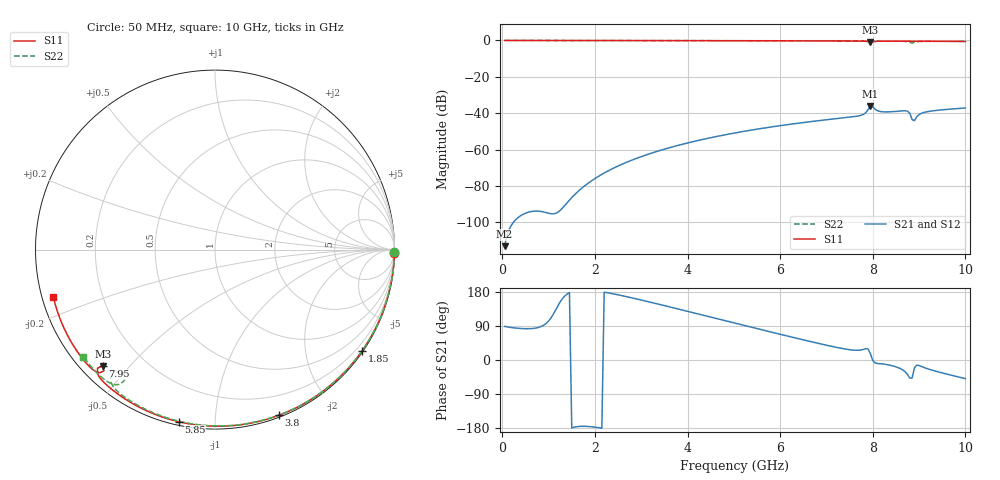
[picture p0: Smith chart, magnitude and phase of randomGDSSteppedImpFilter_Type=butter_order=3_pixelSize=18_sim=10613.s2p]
! freq	dB(S11)	phase(S11)	dB(S12)	phase(S12)
!  dB(S21)	phase(S21)	dB(S22)	phase(S22)
!S-par simulation data
#  GHz  S  DB  R 50
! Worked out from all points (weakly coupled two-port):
!   200 points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, 50 MHz to 10 GHz, reference 50 ohm
!   highest |S21| = -36.03 dB at 7.95 GHz (marker M1); lowest = -113.0 dB at 50 MHz (marker M2)
!   lowest |S11| = -0.9 dB at 7.95 GHz (marker M3), VSWR 19.13, Z = 3.08 - j21.2 ohm
!   |S11| at or under -10 dB: nowhere
!   |S22| runs from -1.4 to 0.0 dB; largest |S21 - S12| = 0
!   S11 on the Smith chart (normalised r, x): 50 MHz: open; 1.85 GHz: 0.03, -3.21; 3.8 GHz: 0.02, -1.46; 5.85 GHz: 0.02, -0.81; 7.95 GHz: 0.06, -0.42; 10 GHz: 0.03, -0.14
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0.05  -0.00 -1.0  -113.03 88.7  -113.03 88.7  -0.00 -0.8
0.85  -0.02 -16.1  -94.01 89.1  -94.01 89.1  -0.02 -13.8
1.75  -0.04 -32.8  -80.46 -174.9  -80.46 -174.9  -0.04 -28.2
1.85  -0.04 -34.6  -78.50 -175.3  -78.50 -175.3  -0.04 -29.8
2.5  -0.06 -46.3  -68.99 172.0  -68.99 172.0  -0.05 -40.0
3.4  -0.08 -62.0  -60.49 146.6  -60.49 146.6  -0.07 -53.7
3.8  -0.09 -68.8  -57.62 134.5  -57.62 134.5  -0.08 -59.6
5.05  -0.14 -89.3  -50.70 96.5  -50.70 96.5  -0.12 -77.6
5.85  -0.17 -101.9  -47.37 72.3  -47.37 72.3  -0.15 -88.6
6.7  -0.22 -114.9  -44.46 47.4  -44.46 47.4  -0.19 -100.0
7.75  -0.34 -131.5  -41.10 26.5  -41.10 26.5  -0.27 -113.7
7.85  -0.45 -133.7  -39.67 29.9  -39.67 29.9  -0.27 -115.0
7.95  -0.91 -134.0  -36.03 16.1  -36.03 16.1  -0.28 -116.3
8.15  -0.42 -135.1  -38.97 -9.7  -38.97 -9.7  -0.30 -119.0
8.35  -0.38 -138.6  -39.22 -13.2  -39.22 -13.2  -0.32 -121.8
8.75  -0.42 -144.8  -38.85 -38.0  -38.85 -38.0  -0.73 -129.2
8.8  -0.42 -145.5  -40.02 -47.8  -40.02 -47.8  -1.09 -129.5
8.85  -0.42 -146.3  -43.50 -47.6  -43.50 -47.6  -1.37 -126.8
8.9  -0.42 -147.1  -44.06 -20.6  -44.06 -20.6  -1.04 -124.7
9  -0.43 -148.6  -40.70 -14.8  -40.70 -14.8  -0.59 -126.3
9.1  -0.44 -150.1  -39.58 -19.6  -39.58 -19.6  -0.48 -128.3
10  -0.55 -163.8  -37.10 -49.2  -37.10 -49.2  -0.49 -140.8
